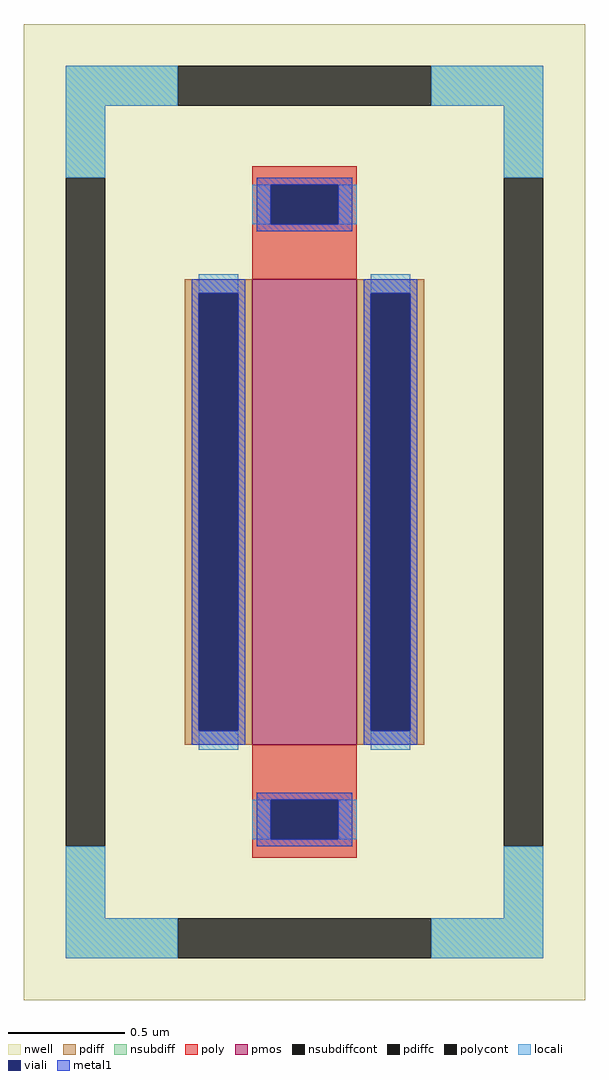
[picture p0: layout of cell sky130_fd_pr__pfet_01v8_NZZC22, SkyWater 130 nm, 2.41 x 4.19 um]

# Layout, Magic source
magic
tech sky130A
magscale 1 2
<< nwell >>
rect -241 -419 241 419
<< pmos >>
rect -45 -200 45 200
<< pdiff >>
rect -103 188 -45 200
rect -103 -188 -91 188
rect -57 -188 -45 188
rect -103 -200 -45 -188
rect 45 188 103 200
rect 45 -188 57 188
rect 91 -188 103 188
rect 45 -200 103 -188
<< pdiffc >>
rect -91 -188 -57 188
rect 57 -188 91 188
<< nsubdiff >>
rect -205 349 -109 383
rect 109 349 205 383
rect -205 287 -171 349
rect 171 287 205 349
rect -205 -349 -171 -287
rect 171 -349 205 -287
rect -205 -383 -109 -349
rect 109 -383 205 -349
<< nsubdiffcont >>
rect -109 349 109 383
rect -205 -287 -171 287
rect 171 -287 205 287
rect -109 -383 109 -349
<< poly >>
rect -45 281 45 297
rect -45 247 -29 281
rect 29 247 45 281
rect -45 200 45 247
rect -45 -247 45 -200
rect -45 -281 -29 -247
rect 29 -281 45 -247
rect -45 -297 45 -281
<< polycont >>
rect -29 247 29 281
rect -29 -281 29 -247
<< locali >>
rect -205 349 -109 383
rect 109 349 205 383
rect -205 287 -171 349
rect 171 287 205 349
rect -45 247 -29 281
rect 29 247 45 281
rect -91 188 -57 204
rect -91 -204 -57 -188
rect 57 188 91 204
rect 57 -204 91 -188
rect -45 -281 -29 -247
rect 29 -281 45 -247
rect -205 -349 -171 -287
rect 171 -349 205 -287
rect -205 -383 -109 -349
rect 109 -383 205 -349
<< viali >>
rect -29 247 29 281
rect -91 -188 -57 188
rect 57 -188 91 188
rect -29 -281 29 -247
<< metal1 >>
rect -41 281 41 287
rect -41 247 -29 281
rect 29 247 41 281
rect -41 241 41 247
rect -97 188 -51 200
rect -97 -188 -91 188
rect -57 -188 -51 188
rect -97 -200 -51 -188
rect 51 188 97 200
rect 51 -188 57 188
rect 91 -188 97 188
rect 51 -200 97 -188
rect -41 -247 41 -241
rect -41 -281 -29 -247
rect 29 -281 41 -247
rect -41 -287 41 -281
<< properties >>
string FIXED_BBOX -188 -366 188 366
string gencell sky130_fd_pr__pfet_01v8
string library sky130
string parameters w 2 l 0.45 m 1 nf 1 diffcov 100 polycov 100 guard 1 glc 1 grc 1 gtc 1 gbc 1 tbcov 100 rlcov 100 topc 1 botc 1 poverlap 0 doverlap 1 lmin 0.15 wmin 0.42 compatible {sky130_fd_pr__pfet_01v8  sky130_fd_pr__pfet_01v8_lvt sky130_fd_pr__pfet_01v8_hvt  sky130_fd_pr__pfet_g5v0d10v5} full_metal 1 viasrc 100 viadrn 100 viagate 100 viagb 0 viagr 0 viagl 0 viagt 0
<< end >>
